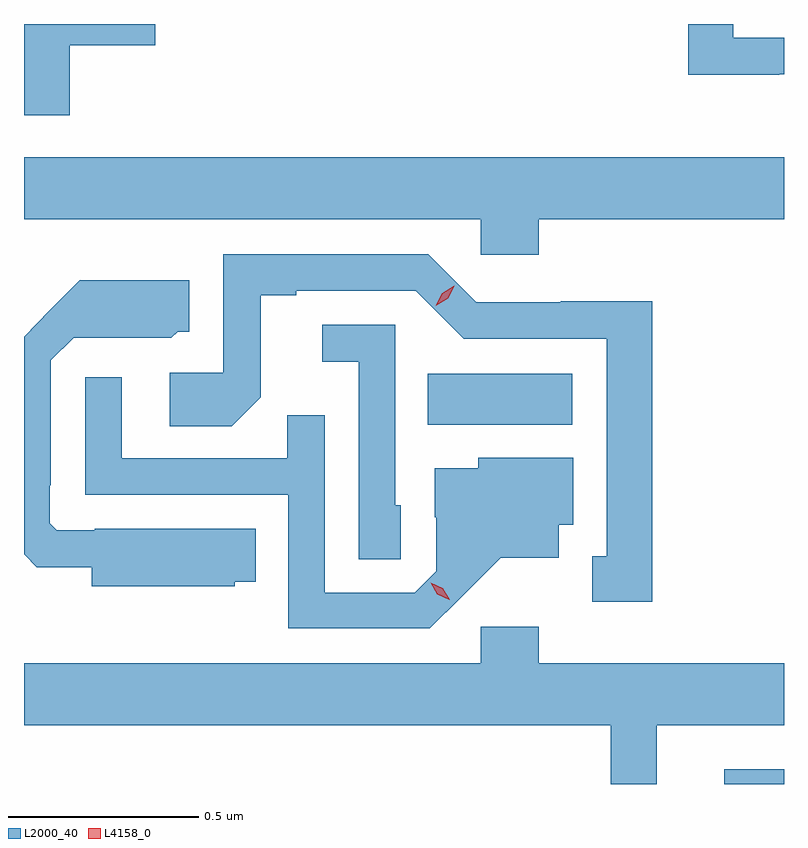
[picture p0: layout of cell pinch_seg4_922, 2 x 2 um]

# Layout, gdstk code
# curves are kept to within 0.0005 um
import gdstk
lib = gdstk.Library(unit=1e-6, precision=1e-09)
def R(c, l, rs):  # rectangles x0, y0, x1, y1
    for r in rs: c.add(gdstk.rectangle(r[:2], r[2:], *l))
def P(c, l, *ps):  # polygons
    for p in ps: c.add(gdstk.Polygon(p, *l))
L2000_40 = (2000, 40)
L4158_0 = (4158, 0)

pinch_seg4_922 = lib.new_cell('pinch_seg4_922')
R(pinch_seg4_922, L2000_40, [(749.981,820.642,750.138,820.681), (749.2,821.588,749.581,821.722)])
P(pinch_seg4_922, L2000_40, [(750.126,822.51),(750.138,822.51),(750.138,822.606),(750.004,822.606),(750.004,822.642),(749.886,822.642),(749.886,822.509),(750.126,822.509)],
  [(748.259,822.586),(748.483,822.586),(748.483,822.642),(748.138,822.642),(748.138,822.402),(748.259,822.402)],
  [(749.492,822.128),(750.138,822.128),(750.138,822.292),(748.138,822.292),(748.138,822.128),(749.34,822.128),(749.34,822.035),(749.492,822.035)],
  [(749.791,821.912),(749.55,821.912),(749.55,821.91),(749.328,821.91),(749.202,822.036),(748.662,822.036),(748.662,821.724),(748.521,821.724),(748.521,821.584),(748.685,821.584),(748.761,821.66),(748.761,821.928),(748.855,821.928),(748.855,821.94),(749.169,821.94),(749.295,821.814),(749.672,821.814),(749.672,821.241),(749.633,821.241),(749.633,821.121),(749.791,821.121)],
  [(748.692,821.174),(748.748,821.174),(748.748,821.314),(748.324,821.314),(748.324,821.31),(748.224,821.31),(748.206,821.328),(748.206,821.428),(748.209,821.428),(748.209,821.757),(748.269,821.817),(748.392,821.817),(748.392,821.816),(748.526,821.816),(748.542,821.832),(748.573,821.832),(748.573,821.968),(748.285,821.968),(748.138,821.819),(748.138,821.247),(748.172,821.213),(748.316,821.213),(748.316,821.162),(748.692,821.162)],
  [(749.13,821.376),(749.115,821.376),(749.115,821.85),(748.923,821.85),(748.923,821.753),(749.019,821.753),(749.019,821.233),(749.13,821.233)],
  [(749.29,821.135),(749.393,821.237),(749.545,821.237),(749.545,821.324),(749.584,821.324),(749.584,821.5),(749.334,821.5),(749.334,821.473),(749.219,821.473),(749.219,821.344),(749.223,821.344),(749.223,821.202),(749.166,821.145),(748.929,821.145),(748.929,821.612),(748.831,821.612),(748.831,821.499),(748.395,821.499),(748.395,821.713),(748.299,821.713),(748.299,821.403),(748.833,821.403),(748.833,821.052),(749.206,821.052)],
  [(749.803,820.796),(750.138,820.796),(750.138,820.96),(749.492,820.96),(749.492,821.056),(749.34,821.056),(749.34,820.96),(748.138,820.96),(748.138,820.796),(749.682,820.796),(749.682,820.642),(749.803,820.642)])
P(pinch_seg4_922, L4158_0, [(749.222,821.9),(749.222,821.901),(749.239,821.933),(749.27,821.953),(749.27,821.953),(749.27,821.952),(749.254,821.92),(749.222,821.9)],
  [(749.257,821.127),(749.226,821.142),(749.209,821.172),(749.209,821.172),(749.209,821.172),(749.24,821.157),(749.258,821.127),(749.258,821.127)])

lib.write_gds('pinch_seg4_922.gds')
